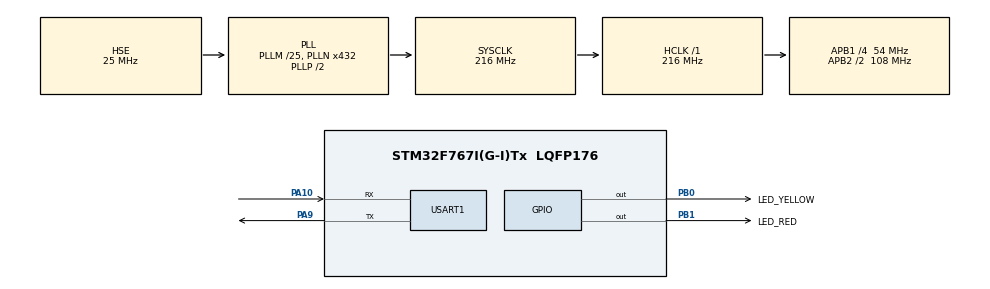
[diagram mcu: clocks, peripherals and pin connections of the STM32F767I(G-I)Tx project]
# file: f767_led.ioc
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CORTEX_M7.default_mode_Activation=1
Dma.MEMTOMEM.0.Direction=DMA_MEMORY_TO_MEMORY
Dma.MEMTOMEM.0.FIFOMode=DMA_FIFOMODE_ENABLE
Dma.MEMTOMEM.0.FIFOThreshold=DMA_FIFO_THRESHOLD_FULL
Dma.MEMTOMEM.0.Instance=DMA2_Stream0
Dma.MEMTOMEM.0.MemBurst=DMA_MBURST_SINGLE
Dma.MEMTOMEM.0.MemDataAlignment=DMA_MDATAALIGN_BYTE
Dma.MEMTOMEM.0.MemInc=DMA_MINC_ENABLE
Dma.MEMTOMEM.0.Mode=DMA_NORMAL
Dma.MEMTOMEM.0.PeriphBurst=DMA_PBURST_SINGLE
Dma.MEMTOMEM.0.PeriphDataAlignment=DMA_PDATAALIGN_BYTE
Dma.MEMTOMEM.0.PeriphInc=DMA_PINC_ENABLE
Dma.MEMTOMEM.0.Priority=DMA_PRIORITY_LOW
Dma.Request0=MEMTOMEM
IWDG.Prescaler=IWDG_PRESCALER_8
IWDG.Reload=4095
Mcu.Family=STM32F7
Mcu.Name=STM32F767I(G-I)Tx
Mcu.Package=LQFP176
NVIC.PriorityGroup=NVIC_PRIORITYGROUP_2
NVIC.TIM7_IRQn=true\:3\:0\:true\:false\:true\:false\:true\:true
NVIC.TimeBase=TIM7_IRQn
NVIC.TimeBaseIP=TIM7
PA10.Mode=Asynchronous
PA10.Signal=USART1_RX
PA13.Mode=Serial_Wire
PA13.Signal=SYS_JTMS-SWDIO
PA14.Mode=Serial_Wire
PA14.Signal=SYS_JTCK-SWCLK
PA9.Mode=Asynchronous
PA9.Signal=USART1_TX
PB0.GPIO_Label=LED_YELLOW
PB0.GPIO_ModeDefaultOutputPP=GPIO_MODE_OUTPUT_OD
PB0.GPIO_PuPd=GPIO_NOPULL
PB0.PinState=GPIO_PIN_SET
PB0.Signal=GPIO_Output
PB1.GPIO_Label=LED_RED
PB1.GPIO_ModeDefaultOutputPP=GPIO_MODE_OUTPUT_OD
PB1.GPIO_PuPd=GPIO_NOPULL
PB1.PinState=GPIO_PIN_SET
PB1.Signal=GPIO_Output
PH0/OSC_IN.Mode=HSE-External-Oscillator
PH0/OSC_IN.Signal=RCC_OSC_IN
PH1/OSC_OUT.Mode=HSE-External-Oscillator
PH1/OSC_OUT.Signal=RCC_OSC_OUT
ProjectManager.HeapSize=0x200
ProjectManager.StackSize=0x400
ProjectManager.TargetToolchain=CMake
RCC.AHBFreq_Value=216000000
RCC.APB1CLKDivider=RCC_HCLK_DIV4
RCC.APB1Freq_Value=54000000
RCC.APB1TimFreq_Value=108000000
RCC.APB2CLKDivider=RCC_HCLK_DIV2
RCC.APB2Freq_Value=108000000
RCC.APB2TimFreq_Value=216000000
RCC.CortexFreq_Value=216000000
RCC.EnbaleCSS=true
RCC.HCLKFreq_Value=216000000
RCC.HSE_VALUE=25000000
RCC.HSI_VALUE=16000000
RCC.LSE_VALUE=32768
RCC.PLLM=25
RCC.PLLN=432
RCC.PLLSourceVirtual=RCC_PLLSOURCE_HSE
RCC.SYSCLKFreq_VALUE=216000000
RCC.SYSCLKSource=RCC_SYSCLKSOURCE_PLLCLK
RCC.USBFreq_Value=216000000
RCC.VCOOutputFreq_Value=432000000
USART1.VirtualMode-Asynchronous=VM_ASYNC
VP_IWDG_VS_IWDG.Mode=IWDG_Activate
VP_SYS_VS_tim7.Mode=TIM7
board=custom

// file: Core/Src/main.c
/* USER CODE BEGIN Header */
/**
  ******************************************************************************
  * @file           : main.c
  * @brief          : Main program body
  ******************************************************************************
  * @attention
  *
  * Copyright (c) 2024 STMicroelectronics.
  * All rights reserved.
  *
  * This software is licensed under terms that can be found in the LICENSE file
  * in the root directory of this software component.
  * If no LICENSE file comes with this software, it is provided AS-IS.
  *
  ******************************************************************************
  */
/* USER CODE END Header */
#include "main.h"
#include "dma.h"
#include "iwdg.h"
#include "usart.h"
#include "gpio.h"

/* USER CODE BEGIN Includes */
#include <cJSON.h>
#include <stdlib.h>
#include <stdio.h>
#include <string.h>
#include <SEGGER_RTT.h>
/* USER CODE END Includes */

/* USER CODE BEGIN PD */
#define UART_OUTPUT
#define RTT_OUTPUT
/* USER CODE END PD */

/* USER CODE BEGIN PV */
static const uint8_t board_str[] = "STM32F767IGT6";
static const char test_json[] = "{\"name\": \"kabirz\", \"age\": 34}";
static cJSON *root;
static const uint32_t src_data[4]  __attribute__((aligned(8)))= {0x11223344, 0x56788765, 0x12345678, 0x90231456};
static uint32_t dest_data[4] __attribute__((aligned(8)));
/* USER CODE END PV */

void SystemClock_Config(void);
static void MPU_Config(void);

/* USER CODE BEGIN 0 */
#ifdef __GNUC__
  #define PUTCHAR_PROTOTYPE int __io_putchar(int ch)
#else
  #define PUTCHAR_PROTOTYPE int fputc(int ch, FILE *f)
#endif
PUTCHAR_PROTOTYPE
{
#ifdef UART_OUTPUT
  HAL_UART_Transmit(&huart1, (uint8_t *)&ch, 1, HAL_MAX_DELAY);
#endif
#ifdef RTT_OUTPUT
  SEGGER_RTT_Write(0, &ch, 1);
#endif
  return ch;
}

void load_json(void)
{
  cJSON *tmp;

  if (root == NULL) {
    root = cJSON_Parse(test_json);
  }

  tmp = cJSON_GetObjectItem(root, "age");
  if (tmp) {
    cJSON_SetNumberValue(tmp, tmp->valueint + 1);
  }

  char *str = cJSON_Print(root);
  if (str) {
    HAL_GPIO_TogglePin(LED_RED_GPIO_Port, LED_RED_Pin);
    printf("data: %s\n", str);
    free(str);
  } else {
    printf("malloc failed\n");
  }
}

static int buffer_cmp(const uint32_t *d1, const uint32_t *d2, size_t num)
{
  while(num--) {
    if (*d1++ != *d2++) {
      return -1;
    }
  }
  return 0;
}
/* USER CODE END 0 */

int main(void)
{

  /* MPU Configuration--------------------------------------------------------*/
  MPU_Config();

  /* MCU Configuration--------------------------------------------------------*/

  /* Reset of all peripherals, Initializes the Flash interface and the Systick. */
  HAL_Init();

  /* Configure the system clock */
  SystemClock_Config();

  /* Initialize all configured peripherals */
  MX_GPIO_Init();
  MX_DMA_Init();
  MX_USART1_UART_Init();
  // MX_IWDG_Init();
  /* USER CODE BEGIN 2 */
  printf("BOARD: %s, System clock: %luMHz\n", board_str, SystemCoreClock/1000000);
  if (HAL_DMA_Start(&hdma_memtomem_dma2_stream0, (uint32_t)src_data, (uint32_t)dest_data, sizeof(dest_data)) == HAL_OK) {
    HAL_Delay(10);
    if (buffer_cmp(dest_data, src_data, sizeof(dest_data)/sizeof(uint32_t)) == 0)
      printf("dma transfor success!\n");
    else {
      for (int i = 0; i< 4; i++) {
        printf("0x%lx, 0x%lx\n", dest_data[i], src_data[i]);
      }
    }
  }
  /* USER CODE END 2 */

  /* Infinite loop */
  /* USER CODE BEGIN WHILE */
  while (1)
  {
    HAL_GPIO_TogglePin(LED_YELLOW_GPIO_Port, LED_YELLOW_Pin);
    HAL_Delay(500);
    HAL_IWDG_Refresh(&hiwdg);
    load_json();
    /* USER CODE END WHILE */

  }
}

void SystemClock_Config(void)
{
  RCC_OscInitTypeDef RCC_OscInitStruct = {0};
  RCC_ClkInitTypeDef RCC_ClkInitStruct = {0};

  /** Configure the main internal regulator output voltage
  */
  __HAL_RCC_PWR_CLK_ENABLE();
  __HAL_PWR_VOLTAGESCALING_CONFIG(PWR_REGULATOR_VOLTAGE_SCALE1);

  /** Initializes the RCC Oscillators according to the specified parameters
  * in the RCC_OscInitTypeDef structure.
  */
  RCC_OscInitStruct.OscillatorType = RCC_OSCILLATORTYPE_LSI|RCC_OSCILLATORTYPE_HSE;
  RCC_OscInitStruct.HSEState = RCC_HSE_ON;
  RCC_OscInitStruct.LSIState = RCC_LSI_ON;
  RCC_OscInitStruct.PLL.PLLState = RCC_PLL_ON;
  RCC_OscInitStruct.PLL.PLLSource = RCC_PLLSOURCE_HSE;
  RCC_OscInitStruct.PLL.PLLM = 25;
  RCC_OscInitStruct.PLL.PLLN = 432;
  RCC_OscInitStruct.PLL.PLLP = RCC_PLLP_DIV2;
  RCC_OscInitStruct.PLL.PLLQ = 2;
  RCC_OscInitStruct.PLL.PLLR = 2;
  if (HAL_RCC_OscConfig(&RCC_OscInitStruct) != HAL_OK)
  {
    Error_Handler();
  }

  /** Activate the Over-Drive mode
  */
  if (HAL_PWREx_EnableOverDrive() != HAL_OK)
  {
    Error_Handler();
  }

  /** Initializes the CPU, AHB and APB buses clocks
  */
  RCC_ClkInitStruct.ClockType = RCC_CLOCKTYPE_HCLK|RCC_CLOCKTYPE_SYSCLK
                              |RCC_CLOCKTYPE_PCLK1|RCC_CLOCKTYPE_PCLK2;
  RCC_ClkInitStruct.SYSCLKSource = RCC_SYSCLKSOURCE_PLLCLK;
  RCC_ClkInitStruct.AHBCLKDivider = RCC_SYSCLK_DIV1;
  RCC_ClkInitStruct.APB1CLKDivider = RCC_HCLK_DIV4;
  RCC_ClkInitStruct.APB2CLKDivider = RCC_HCLK_DIV2;

  if (HAL_RCC_ClockConfig(&RCC_ClkInitStruct, FLASH_LATENCY_7) != HAL_OK)
  {
    Error_Handler();
  }

  /** Enables the Clock Security System
  */
  HAL_RCC_EnableCSS();
}

 /* MPU Configuration */

void MPU_Config(void)
{
  MPU_Region_InitTypeDef MPU_InitStruct = {0};

  /* Disables the MPU */
  HAL_MPU_Disable();

  /** Initializes and configures the Region and the memory to be protected
  */
  MPU_InitStruct.Enable = MPU_REGION_ENABLE;
  MPU_InitStruct.Number = MPU_REGION_NUMBER0;
  MPU_InitStruct.BaseAddress = 0x0;
  MPU_InitStruct.Size = MPU_REGION_SIZE_4GB;
  MPU_InitStruct.SubRegionDisable = 0x87;
  MPU_InitStruct.TypeExtField = MPU_TEX_LEVEL0;
  MPU_InitStruct.AccessPermission = MPU_REGION_NO_ACCESS;
  MPU_InitStruct.DisableExec = MPU_INSTRUCTION_ACCESS_DISABLE;
  MPU_InitStruct.IsShareable = MPU_ACCESS_SHAREABLE;
  MPU_InitStruct.IsCacheable = MPU_ACCESS_NOT_CACHEABLE;
  MPU_InitStruct.IsBufferable = MPU_ACCESS_NOT_BUFFERABLE;

  HAL_MPU_ConfigRegion(&MPU_InitStruct);
  /* Enables the MPU */
  HAL_MPU_Enable(MPU_PRIVILEGED_DEFAULT);

}

void HAL_TIM_PeriodElapsedCallback(TIM_HandleTypeDef *htim)
{
  if (htim->Instance == TIM7) {
    HAL_IncTick();
  }
}

void Error_Handler(void)
{
  __disable_irq();
  while (1)
  {
  }
}
